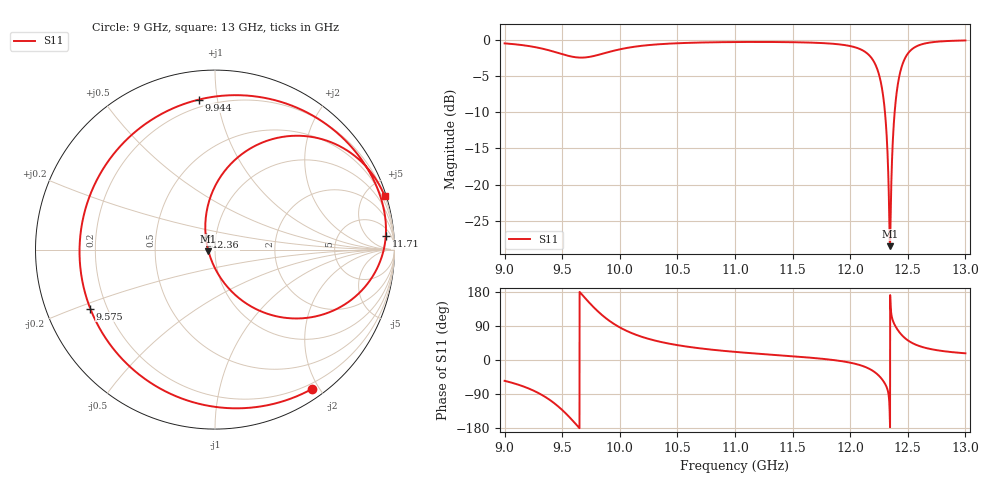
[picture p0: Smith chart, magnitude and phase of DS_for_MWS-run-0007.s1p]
! TOUCHSTONE file generated by CST DESIGN STUDIO
! Date and time: Tue Feb  4 18:29:44 2025
! Project name: C:\Work\MatlabApps\UnitCellOptimizationMatlab\CST\unitcell.cst
! Tree item: Tasks\Sweep1\SPara1\S-Parameters
! Header version: 2024
! Port assignment regex: !\s*Touchstone port\s*([0-9]+)\s*=\s*(CST MWS port|CST DES external port|CST DES block port)\s*(.+)\s* \(\"(.*)\"\)(\s*mode\s*([0-9]+))?.*
! Touchstone port assignment:
! Touchstone port 1 = CST DES external port 1 ("")
# GHz S MA R 50
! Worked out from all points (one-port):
!   4001 points, 9 GHz to 13 GHz, reference 50 ohm
!   lowest |S11| = -28.5 dB at 12.35 GHz (marker M1), VSWR 1.08, Z = 46.5 - j0.905 ohm
!   |S11| at or under -10 dB: 12.3 GHz to 12.39 GHz (84.04 MHz wide, 0.681 % of centre)
!   S11 on the Smith chart (normalised r, x): 9 GHz: 0.13, -1.91; 9.575 GHz: 0.14, -0.22; 9.944 GHz: 0.16, +0.88; 11.71 GHz: 11, +19; 12.36 GHz: 0.89, +0.13; 13 GHz: 0.19, +6.42
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9  0.9463 -55.0
9.161  0.9187 -69.6
9.313  0.8754 -90.4
9.5  0.797 -131.9
9.575  0.7688 -154.7
9.649  0.7549 -179.6
9.722  0.7601 155.5
9.831  0.7949 122.5
9.944  0.8405 96.2
10  0.8607 86.0
10.22  0.9159 58.4
10.5  0.9482 39.2
11  0.9666 21.4
11.5  0.9641 9.8
11.713  0.9544 4.5
12  0.9066 -7.0
12.15  0.8035 -20.9
12.251  0.5722 -42.0
12.3  0.3275 -61.5
12.333  0.1005 -91.1
12.345  0.03753 -165.0
12.355  0.0877 125.9
12.379  0.2671 97.4
12.404  0.4368 83.3
12.447  0.6524 66.1
12.5  0.8038 52.0
12.668  0.9518 30.9
13  0.9912 17.7
